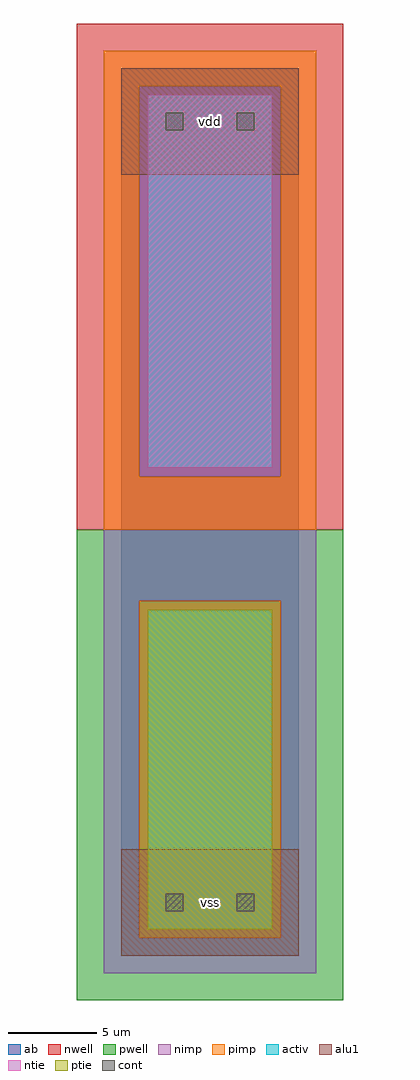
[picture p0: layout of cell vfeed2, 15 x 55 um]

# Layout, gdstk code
import gdstk
lib = gdstk.Library(unit=1e-6, precision=1e-09)
def R(c, l, rs):  # rectangles x0, y0, x1, y1
    for r in rs: c.add(gdstk.rectangle(r[:2], r[2:], *l))
ntie = (5, 0)
ptie = (6, 0)
cont = (25, 0)
pwell = (41, 0)
nwell = (42, 0)
activ = (43, 0)
pimp = (44, 0)
nimp = (45, 0)
alu1 = (49, 0)
ab = (63, 0)

vfeed2 = lib.new_cell('vfeed2')
R(vfeed2, ntie, [(1.5,27.5,8.5,48.5)])
R(vfeed2, ptie, [(1.5,1.5,8.5,19.5)])
R(vfeed2, cont, [(2.5,2.5,3.5,3.5), (6.5,2.5,7.5,3.5), (2.5,46.5,3.5,47.5), (6.5,46.5,7.5,47.5)])
R(vfeed2, pwell, [(-2.5,-2.5,12.5,24)])
R(vfeed2, nwell, [(-2.5,24,12.5,52.5)])
R(vfeed2, activ, [(1.5,1.5,8.5,19.5), (1.5,27.5,8.5,48.5)])
R(vfeed2, pimp, [(1,1,9,20), (-1,24,11,27), (-1,27,1,49), (9,27,11,49), (-1,49,11,51)])
R(vfeed2, nimp, [(-1,-1,11,1), (-1,1,1,20), (9,1,11,20), (-1,20,11,24), (1,27,9,49)])
R(vfeed2, alu1, [(0,0,10,6), (0,0,10,6), (0,44,10,50), (0,44,10,50)])
R(vfeed2, ab, [(0,0,10,50)])
vfeed2.add(gdstk.Label('vss', (5,3), layer=49, texttype=0))
vfeed2.add(gdstk.Label('vdd', (5,47), layer=49, texttype=0))

lib.write_gds('vfeed2.gds')
